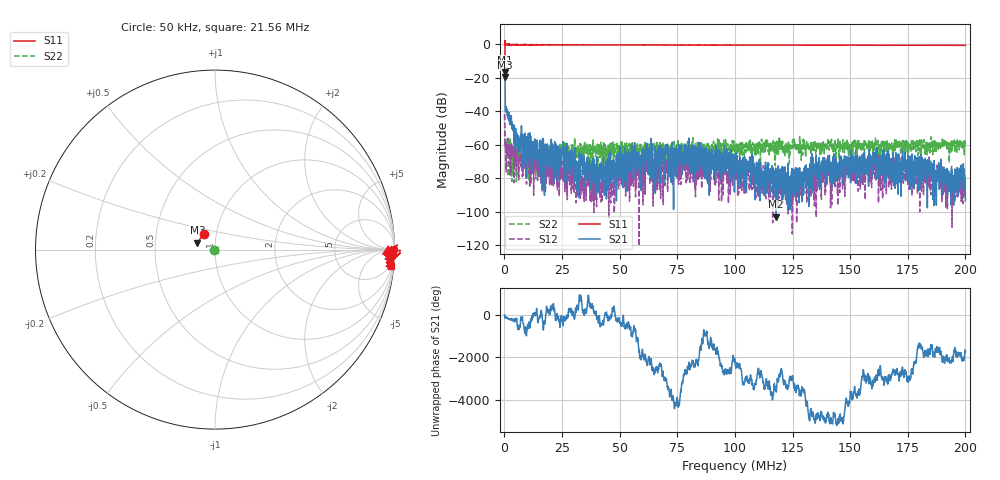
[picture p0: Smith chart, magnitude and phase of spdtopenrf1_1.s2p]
! 26-Feb-26 10:55:12 AM
! E:\VNA_MEASUREMENTS\SPDT1_OPENSHORT\SPDTOPENRF1_1.S2P
! CHANNEL.1
! TR.MEASUREMENT
! CORRECTED.DATA
# GHZ S RI R 50.0
! FREQ.GHZ  S11RE  S11IM  S21RE  S21IM  S12RE  S12IM  S22RE  S22IM
!; PortSelection: Port_12
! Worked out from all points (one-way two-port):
!   2000 points, 50 kHz to 200 MHz, reference 50 ohm
!   highest |S21| = -16.60 dB at 250 kHz (marker M1); lowest = -103.0 dB at 117.8 MHz (marker M2)
!   lowest |S11| = -19.5 dB at 150 kHz (marker M3), VSWR 1.24, Z = 41 + j3.27 ohm
!   |S11| at or under -10 dB: start of sweep to 193.5 kHz
!   |S22| runs from -92.4 to -42.0 dB; largest |S21 - S12| = 0.15
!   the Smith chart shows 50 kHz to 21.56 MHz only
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5e-05  -0.062 0.0883  0.1414 -0.0123  -0.00685 -0.0045  -0.00741 -0.00273
0.000150025  -0.0979 0.0395  -0.1137 -0.038  -0.000751 0.000479  0.00125 -0.00341
0.00025005  -0.664 -1.136  -0.1195 -0.0872  -0.000807 0.000441  0.00256 -0.00155
0.001350325  1.012 -0.0342  -0.00876 -0.00467  0.000481 0.000223  -0.00025 -0.00071
0.004851201  0.9507 -0.0347  0.000442 0.003  6.4e-05 0.000572  0.000624 0.000898
0.008452101  0.9981 -0.029  -3.02e-05 0.00029  -2.95e-05 0.000264  0.00029 -0.000345
0.03345835  0.9569 -0.1296  0.000317 -0.000401  3.55e-05 2.41e-05  0.00058 0.000516
0.0416604  0.9531 -0.1618  -2.92e-05 -0.000221  -2.33e-05 5.04e-05  0.00102 0.000345
0.05566391  0.9379 -0.2157  -0.000489 -0.000146  -8.37e-05 -4.93e-05  0.000482 0.000579
0.06676668  0.9374 -0.2536  0.000215 -0.000114  1.01e-05 -0.000144  0.000531 3.21e-05
0.07076768  0.9189 -0.2616  -9.07e-05 -0.000551  3.56e-05 -1.74e-05  0.000328 0.000317
0.07366841  0.9121 -0.272  0.00013 0.000415  -8.73e-05 0.000136  0.000717 0.00102
0.08277068  0.9055 -0.3041  -0.000795 0.000303  -0.000332 -9.91e-05  0.000362 0.00084
0.08487121  0.9121 -0.3117  -0.000254 -0.000302  -0.000134 0.000254  0.000319 0.00051
0.100075  0.8894 -0.3593  4.71e-05 -0.000257  0.000163 0.00013  0.000605 0.000675
0.1177794  0.8542 -0.415  -4.3e-06 5.6e-06  7.9e-06 -6.61e-05  0.000386 0.000591
0.1333833  0.8288 -0.4605  7.5e-06 -3.58e-05  -7.34e-05 0.000189  0.000322 0.000711
0.1573893  0.7811 -0.5303  -0.000287 9.21e-05  2.04e-05 0.000319  0.0005 0.000865
0.1606902  0.7718 -0.5431  0.000383 -0.000321  3.85e-05 -9.53e-05  0.000737 0.000543
0.1626907  0.7705 -0.5552  0.000291 0.000267  0.000202 0.000294  0.000667 0.000607
0.1666917  0.7644 -0.5628  2e-06 -0.000337  -4.98e-05 9.2e-06  0.000457 0.000751
0.2  0.6831 -0.6463  9.3e-06 1.91e-05  -4.1e-06 -3.65e-05  0.000316 0.00102
